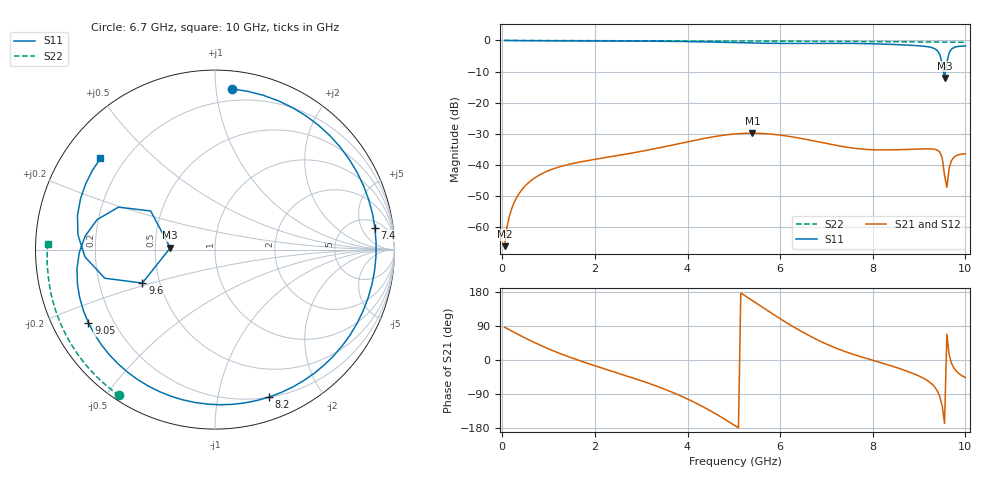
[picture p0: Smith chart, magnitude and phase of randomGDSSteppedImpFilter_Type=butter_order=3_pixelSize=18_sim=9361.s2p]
! freq	dB(S11)	phase(S11)	dB(S12)	phase(S12)
!  dB(S21)	phase(S21)	dB(S22)	phase(S22)
!S-par simulation data
#  GHz  S  DB  R 50
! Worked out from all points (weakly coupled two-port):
!   200 points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, 50 MHz to 10 GHz, reference 50 ohm
!   highest |S21| = -29.78 dB at 5.4 GHz (marker M1); lowest = -66.1 dB at 50 MHz (marker M2)
!   lowest |S11| = -12.1 dB at 9.55 GHz (marker M3), VSWR 1.66, Z = 30.1 + j0.636 ohm
!   |S11| at or under -10 dB: 9.527022 GHz to 9.570499 GHz (43.48 MHz wide, 0.455 % of centre)
!   |S22| runs from -0.6 to 0.0 dB; largest |S21 - S12| = 0
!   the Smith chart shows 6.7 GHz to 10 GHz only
!   S11 on the Smith chart (normalised r, x): 6.7 GHz: 0.12, +1.10; 7.4 GHz: 7, +9; 8.2 GHz: 0.20, -1.41; 9.05 GHz: 0.11, -0.27; 9.6 GHz: 0.40, -0.19; 10 GHz: 0.11, +0.34
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0.05  -0.01 -5.7  -66.06 86.4  -66.06 86.4  -0.00 -1.0
0.25  -0.04 -28.0  -52.24 73.3  -52.24 73.3  -0.01 -5.1
0.8  -0.10 -84.1  -43.21 40.1  -43.21 40.1  -0.02 -16.1
1.75  -0.14 -158.9  -38.83 -5.1  -38.83 -5.1  -0.04 -34.8
2.5  -0.17 152.6  -36.94 -34.6  -36.94 -34.6  -0.06 -49.2
3.4  -0.25 92.3  -34.44 -72.0  -34.44 -72.0  -0.09 -66.0
3.85  -0.33 57.1  -33.02 -94.6  -33.02 -94.6  -0.10 -74.2
4.35  -0.46 11.0  -31.48 -124.4  -31.48 -124.4  -0.12 -83.1
4.7  -0.58 -26.5  -30.59 -148.6  -30.59 -148.6  -0.14 -89.2
5.05  -0.72 -68.2  -29.98 -175.1  -29.98 -175.1  -0.15 -95.3
5.4  -0.84 -112.8  -29.78 156.9  -29.78 156.9  -0.17 -101.3
6  -0.94 169.5  -30.39 109.0  -30.39 109.0  -0.20 -111.5
6.7  -0.91 84.1  -32.17 59.6  -32.17 59.6  -0.25 -123.3
7.4  -0.92 7.7  -34.19 22.4  -34.19 22.4  -0.30 -135.1
8.2  -1.16 -69.8  -35.16 -8.1  -35.16 -8.1  -0.38 -148.8
8.35  -1.23 -83.6  -35.15 -13.6  -35.15 -13.6  -0.39 -151.4
9.05  -1.78 -149.9  -34.83 -45.4  -34.83 -45.4  -0.48 -163.8
9.45  -4.62 156.3  -35.90 -97.5  -35.90 -97.5  -0.53 -171.2
9.55  -12.07 177.7  -43.29 -167.1  -43.29 -167.1  -0.54 -173.0
9.6  -7.03 -155.3  -47.19 68.0  -47.19 68.0  -0.55 -174.0
9.7  -2.79 -176.8  -38.58 -8.5  -38.58 -8.5  -0.56 -175.9
10  -1.77 141.5  -36.41 -46.4  -36.41 -46.4  -0.61 178.2
